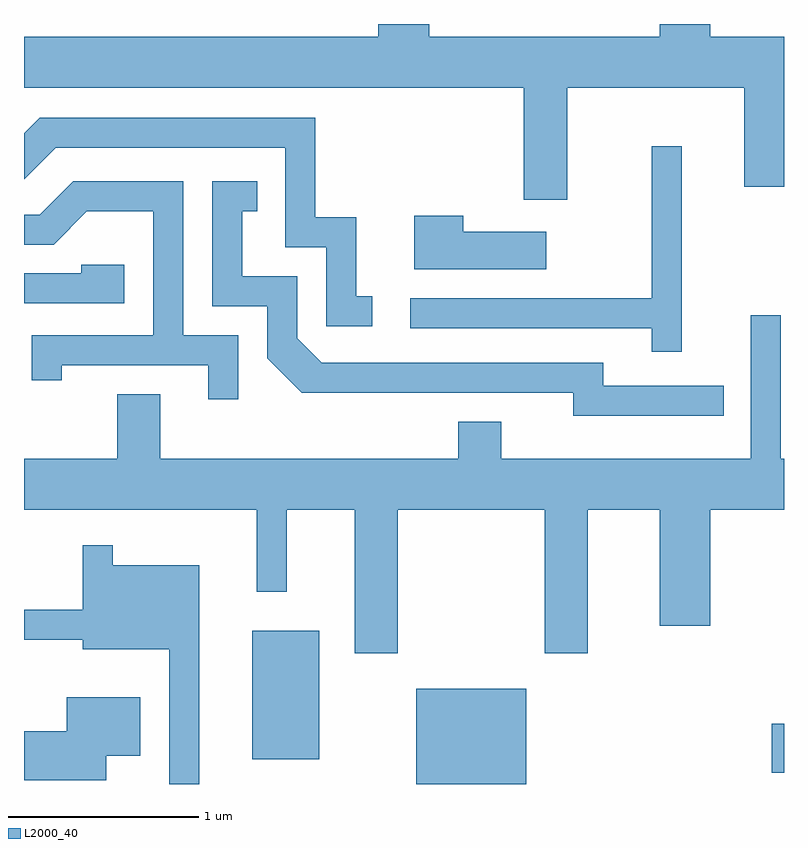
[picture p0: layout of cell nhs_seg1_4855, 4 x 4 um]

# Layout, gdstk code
import gdstk
lib = gdstk.Library(unit=1e-6, precision=1e-09)
def R(c, l, rs):  # rectangles x0, y0, x1, y1
    for r in rs: c.add(gdstk.rectangle(r[:2], r[2:], *l))
def P(c, l, *ps):  # polygons
    for p in ps: c.add(gdstk.Polygon(p, *l))
L2000_40 = (2000, 40)

nhs_seg1_4855 = lib.new_cell('nhs_seg1_4855')
R(nhs_seg1_4855, L2000_40, [(333.676,873.712,334.254,874.214), (335.546,873.771,335.611,874.029), (332.811,873.841,333.164,874.519)])
P(nhs_seg1_4855, L2000_40, [(333.476,877.712),(333.476,877.644),(331.611,877.644),(331.611,877.376),(334.241,877.376),(334.241,876.786),(334.469,876.786),(334.469,877.376),(335.401,877.376),(335.401,876.856),(335.611,876.856),(335.611,877.644),(335.224,877.644),(335.224,877.712),(334.956,877.712),(334.956,877.644),(333.744,877.644),(333.744,877.712)],
  [(333.443,876.279),(333.359,876.279),(333.359,876.694),(333.144,876.694),(333.144,877.219),(331.694,877.219),(331.611,877.136),(331.611,876.895),(331.777,877.061),(332.986,877.061),(332.986,876.536),(333.201,876.536),(333.201,876.121),(333.443,876.121)],
  [(335.074,877.068),(334.916,877.068),(334.916,876.269),(333.643,876.269),(333.643,876.111),(334.916,876.111),(334.916,875.988),(335.074,875.988)],
  [(335.293,875.809),(334.659,875.809),(334.659,875.929),(333.177,875.929),(333.049,876.057),(333.049,876.384),(332.759,876.384),(332.759,876.726),(332.838,876.726),(332.838,876.884),(332.601,876.884),(332.601,876.226),(332.891,876.226),(332.891,875.954),(333.074,875.771),(334.501,875.771),(334.501,875.651),(335.293,875.651)],
  [(332.739,876.074),(332.449,876.074),(332.449,876.884),(331.869,876.884),(331.694,876.709),(331.611,876.709),(331.611,876.551),(331.767,876.551),(331.942,876.726),(332.291,876.726),(332.291,876.074),(331.651,876.074),(331.651,875.838),(331.809,875.838),(331.809,875.916),(332.581,875.916),(332.581,875.738),(332.739,875.738)],
  [(334.359,876.619),(333.924,876.619),(333.924,876.704),(333.666,876.704),(333.666,876.421),(334.359,876.421)],
  [(332.139,876.444),(331.911,876.444),(331.911,876.399),(331.611,876.399),(331.611,876.241),(332.139,876.241)],
  [(333.579,875.156),(334.351,875.156),(334.351,874.401),(334.579,874.401),(334.579,875.156),(334.956,875.156),(334.956,874.546),(335.224,874.546),(335.224,875.156),(335.611,875.156),(335.611,875.424),(335.594,875.424),(335.594,876.178),(335.436,876.178),(335.436,875.424),(334.124,875.424),(334.124,875.619),(333.896,875.619),(333.896,875.424),(332.329,875.424),(332.329,875.764),(332.101,875.764),(332.101,875.424),(331.611,875.424),(331.611,875.156),(332.836,875.156),(332.836,874.723),(332.994,874.723),(332.994,875.156),(333.351,875.156),(333.351,874.401),(333.579,874.401)],
  [(332.534,874.864),(332.079,874.864),(332.079,874.968),(331.921,874.968),(331.921,874.629),(331.611,874.629),(331.611,874.471),(331.921,874.471),(331.921,874.421),(332.376,874.421),(332.376,873.712),(332.534,873.712)],
  [(332.044,873.861),(332.224,873.861),(332.224,874.169),(331.836,874.169),(331.836,873.989),(331.611,873.989),(331.611,873.731),(332.044,873.731)])

lib.write_gds('nhs_seg1_4855.gds')
